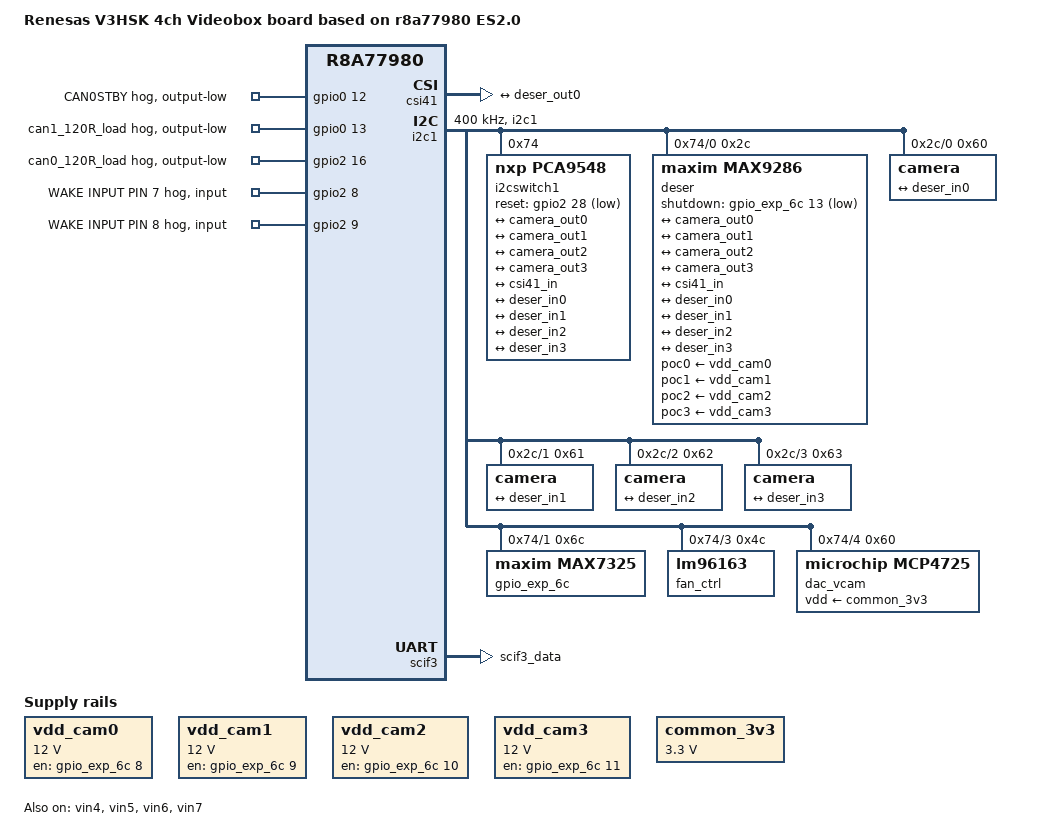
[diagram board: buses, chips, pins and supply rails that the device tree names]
// SPDX-License-Identifier: GPL-2.0
/*
 * Device Tree Source for the V3HSK 4ch Videobox board on r8a77980 ES2.0
 *
 * Based on r8a77980-v3hsk-vbm.dts
 * Copyright (C) 2021 Renesas Electronics Corp.
 */

#include "r8a77980-es2-v3hsk.dts"
#include <dt-bindings/gpio/gpio.h>
#include "camera.dtsi"

/ {
	model = "Renesas V3HSK 4ch Videobox board based on r8a77980 ES2.0";

	aliases {
		serial1 = &scif3;
	};

	vdd_cam0: regulator-vdd-cam0 {
		compatible = "regulator-fixed";
		regulator-name = "Video PWR0";
		regulator-min-microvolt = <12000000>;
		regulator-max-microvolt = <12000000>;
		gpio = <&gpio_exp_6c 8 GPIO_ACTIVE_HIGH>;
		enable-active-high;
	};

	vdd_cam1: regulator-vdd-cam1 {
		compatible = "regulator-fixed";
		regulator-name = "Video PWR1";
		regulator-min-microvolt = <12000000>;
		regulator-max-microvolt = <12000000>;
		gpio = <&gpio_exp_6c 9 GPIO_ACTIVE_HIGH>;
		enable-active-high;
	};

	vdd_cam2: regulator-vdd-cam2 {
		compatible = "regulator-fixed";
		regulator-name = "Video PWR2";
		regulator-min-microvolt = <12000000>;
		regulator-max-microvolt = <12000000>;
		gpio = <&gpio_exp_6c 10 GPIO_ACTIVE_HIGH>;
		enable-active-high;
	};

	vdd_cam3: regulator-vdd-cam3 {
		compatible = "regulator-fixed";
		regulator-name = "Video PWR3";
		regulator-min-microvolt = <12000000>;
		regulator-max-microvolt = <12000000>;
		gpio = <&gpio_exp_6c 11 GPIO_ACTIVE_HIGH>;
		enable-active-high;
	};

	common_3v3: regulator4 {
		compatible = "regulator-fixed";
		regulator-name = "main 3v3";
		regulator-min-microvolt = <3300000>;
		regulator-max-microvolt = <3300000>;
		regulator-boot-on;
		regulator-always-on;
	};

};

&csi41 {
	status = "okay";

	ports {
		#address-cells = <1>;
		#size-cells = <0>;

		port@0 {
			reg = <0>;

			csi41_in: endpoint {
				clock-lanes = <0>;
				data-lanes = <1 2 3 4>;
				remote-endpoint = <&deser_out0>;
			};
		};
	};
};

&i2c1 {
	pinctrl-0 = <&i2c1_pins>;
	pinctrl-names = "default";
	status = "okay";

	clock-frequency = <400000>;
	multi-master;

	i2cswitch1: i2c-switch@74 {
		compatible = "nxp,pca9548";
		#address-cells = <1>;
		#size-cells = <0>;
		reg = <0x74>;
		reset-gpios = <&gpio2 28 GPIO_ACTIVE_LOW>;

		i2c@0 {
			#address-cells = <1>;
			#size-cells = <0>;
			reg = <0>;

			deser@2c {
				compatible = "maxim,max9286", "ti,ub9x4";
				#address-cells = <1>;
				#size-cells = <0>;
				reg = <0x2c 0x3a>;
				reg-names = "max9286", "ub9x4";
				regs = <0x0c 0x0d 0x0e 0x0f>;
				shutdown-gpios = <&gpio_exp_6c 13 GPIO_ACTIVE_LOW>;
				ti,csi-rate = <700>;

				poc0-supply = <&vdd_cam0>;
				poc1-supply = <&vdd_cam1>;
				poc2-supply = <&vdd_cam2>;
				poc3-supply = <&vdd_cam3>;

				ports {
					#address-cells = <1>;
					#size-cells = <0>;

					port@0 {
						reg = <0>;
						deser_in0: endpoint {
							remote-endpoint = <&camera_out0>;
						};
					};

					port@1 {
						reg = <1>;
						deser_in1: endpoint {
							remote-endpoint = <&camera_out1>;
						};
					};

					port@2 {
						reg = <2>;
						deser_in2: endpoint {
							remote-endpoint = <&camera_out2>;
						};
					};

					port@3 {
						reg = <3>;
						deser_in3: endpoint {
							remote-endpoint = <&camera_out3>;
						};
					};

					port@4 {
						reg = <4>;
						deser_out0: endpoint {
							clock-lanes = <0>;
							data-lanes = <1 2 3 4>;
							remote-endpoint = <&csi41_in>;
						};
					};
				};

				i2c@0 {
					#address-cells = <1>;
					#size-cells = <0>;
					reg = <0>;

					camera@60 {
						compatible = LVDS_CAMERA;
						reg = <0x60 0x0c>;

						port {
							camera_out0: endpoint {
								remote-endpoint = <&deser_in0>;
							};
						};
					};
				};

				i2c@1 {
					#address-cells = <1>;
					#size-cells = <0>;
					reg = <1>;

					camera@61 {
						compatible = LVDS_CAMERA;
						reg = <0x61 0x0d>;

						port {
							camera_out1: endpoint {
								remote-endpoint = <&deser_in1>;
							};
						};
					};
				};

				i2c@2 {
					#address-cells = <1>;
					#size-cells = <0>;
					reg = <2>;

					camera@62 {
						compatible = LVDS_CAMERA;
						reg = <0x62 0x0e>;

						port {
							camera_out2: endpoint {
								remote-endpoint = <&deser_in2>;
							};
						};
					};
				};

				i2c@3 {
					#address-cells = <1>;
					#size-cells = <0>;
					reg = <3>;

					camera@63 {
						compatible = LVDS_CAMERA;
						reg = <0x63 0x0f>;

						port {
							camera_out3: endpoint {
								remote-endpoint = <&deser_in3>;
							};
						};
					};
				};
			};
		};

		i2c@1 {
			#address-cells = <1>;
			#size-cells = <0>;
			reg = <1>;

			gpio_exp_6c: gpio@6c {
				compatible = "maxim,max7325";
				reg = <0x6c>;
				gpio-controller;
				#gpio-cells = <2>;

				virq {
					gpio-hog;
					gpios = <5 GPIO_ACTIVE_HIGH>;
					input;
					line-name = "VIRQ";
				};
				des_cfg {
					gpio-hog;
					gpios = <6 GPIO_ACTIVE_HIGH>;
					input;
					line-name = "CNFG0";
				};
				pwr_shdn {
					gpio-hog;
					gpios = <14 GPIO_ACTIVE_HIGH>;
					output-high;
					line-name = "PWR_SHDN";
				};
				fpdl_shdn {
					gpio-hog;
					gpios = <15 GPIO_ACTIVE_HIGH>;
					output-high;
					line-name = "FPDL_SHDN";
				};
			};
		};

		i2c@3 {
			#address-cells = <1>;
			#size-cells = <0>;
			reg = <3>;

			/* fan node - lm96063 */
			fan_ctrl: lm96063@4c {
				compatible = "lm96163";
				reg = <0x4c>;
			};
		};

		i2c@4 {
			#address-cells = <1>;
			#size-cells = <0>;
			reg = <4>;

			dac_vcam: dac_vcam@60 {
				compatible = "microchip,mcp4725";
				reg = <0x60>;
				vdd-supply = <&common_3v3>;
			};
		};
	};
};

&gpio0 {
	can0stby {
		gpio-hog;
		gpios = <12 GPIO_ACTIVE_HIGH>;
		output-low;
		line-name = "CAN0STBY";
	};

	can1_load {
		gpio-hog;
		gpios = <13 GPIO_ACTIVE_HIGH>;
		output-low;
		line-name = "can1_120R_load";
	};
};

&gpio2 {
	can0_load {
		gpio-hog;
		gpios = <16 GPIO_ACTIVE_HIGH>;
		output-low;
		line-name = "can0_120R_load";
	};

	wake_pin_7 {
		gpio-hog;
		gpios = <8 GPIO_ACTIVE_HIGH>;
		input;
		line-name = "WAKE INPUT PIN 7";
	};

	wake_pin_8 {
		gpio-hog;
		gpios = <9 GPIO_ACTIVE_HIGH>;
		input;
		line-name = "WAKE INPUT PIN 8";
	};
};

&pfc {
	i2c1_pins: i2c1 {
		groups = "i2c1";
		function = "i2c1";
	};

	scif3_pins: scif3 {
		groups = "scif3_data";
		function = "scif3";
	};
};

&scif3 {
	pinctrl-0 = <&scif3_pins>;
	pinctrl-names = "default";

	status = "okay";
};

&vin4 {
	status = "okay";
};

&vin5 {
	status = "okay";
};

&vin6 {
	status = "okay";
};

&vin7 {
	status = "okay";
};
